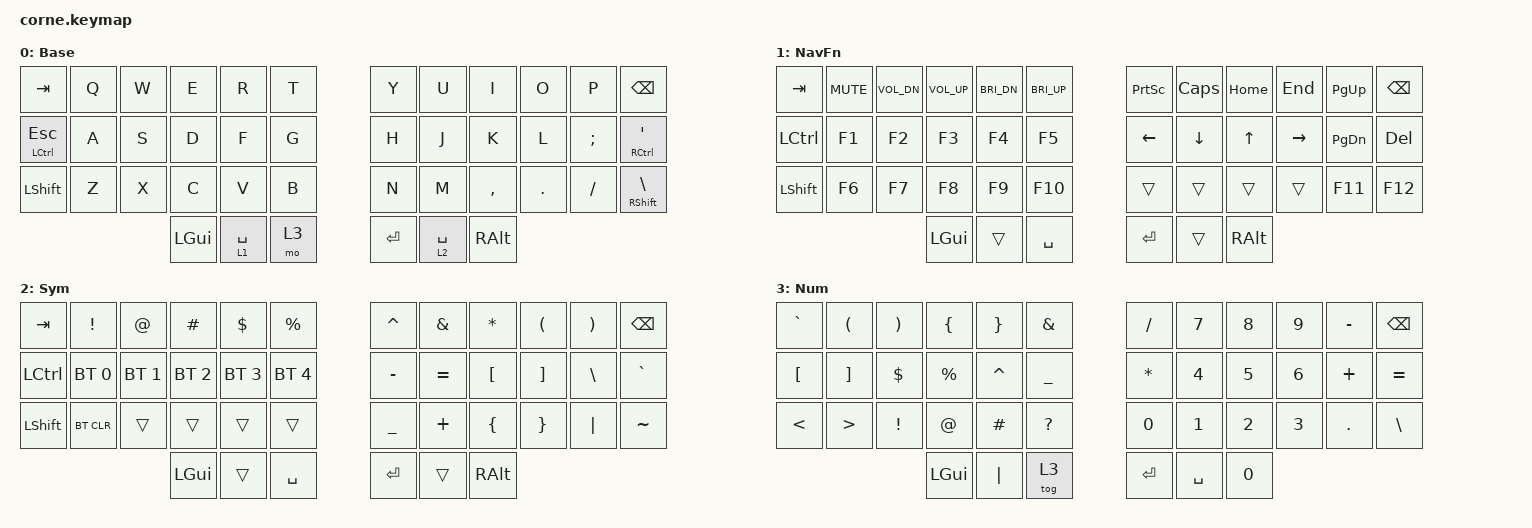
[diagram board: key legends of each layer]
/*
 * Copyright (c) 2020 The ZMK Contributors
 *
 * SPDX-License-Identifier: MIT
 */

#include <behaviors.dtsi>
#include <dt-bindings/zmk/keys.h>
#include <dt-bindings/zmk/bt.h>

/ {
        combos {
                compatible = "zmk,combos";
                
                // Numpad toggle (inner thumbs - cross hand)
                combo_numpad_toggle {
                        timeout-ms = <50>;
                        key-positions = <38 39>;
                        bindings = <&tog 3>;
                };
                
                // Quick brackets and braces (home row)
                combo_lbracket {
                        timeout-ms = <30>;
                        key-positions = <15 16>;  // D + F
                        bindings = <&kp LBKT>;
                };
                combo_rbracket {
                        timeout-ms = <30>;
                        key-positions = <19 20>;  // J + K
                        bindings = <&kp RBKT>;
                };
                combo_lbrace {
                        timeout-ms = <30>;
                        key-positions = <14 15>;  // S + D
                        bindings = <&kp LBRC>;
                };
                combo_rbrace {
                        timeout-ms = <30>;
                        key-positions = <20 21>;  // K + L
                        bindings = <&kp RBRC>;
                };
                combo_lparen {
                        timeout-ms = <30>;
                        key-positions = <3 4>;    // E + R
                        bindings = <&kp LPAR>;
                };
                combo_rparen {
                        timeout-ms = <30>;
                        key-positions = <7 8>;    // U + I
                        bindings = <&kp RPAR>;
                };
                
                // Quick copy/paste
                combo_copy {
                        timeout-ms = <30>;
                        key-positions = <26 27>;  // X + C
                        bindings = <&kp LC(C)>;
                };
                combo_paste {
                        timeout-ms = <30>;
                        key-positions = <27 28>;  // C + V
                        bindings = <&kp LC(V)>;
                };
                combo_cut {
                        timeout-ms = <30>;
                        key-positions = <25 26>;  // Z + X
                        bindings = <&kp LC(X)>;
                };
                combo_undo {
                        timeout-ms = <30>;
                        key-positions = <25 27>;  // Z + C
                        bindings = <&kp LC(Z)>;
                };
                combo_redo {
                        timeout-ms = <30>;
                        key-positions = <27 29>;  // C + B
                        bindings = <&kp LC(LS(Z))>;
                };
                
                // Backtick for template literals
                combo_backtick {
                        timeout-ms = <30>;
                        key-positions = <1 2>;    // Q + W
                        bindings = <&kp GRAVE>;
                };
        };

        keymap {
                compatible = "zmk,keymap";

                default_layer {
// -----------------------------------------------------------------------------------------
// |  TAB |  Q  |  W  |  E  |  R  |  T  |   |  Y  |  U   |  I  |  O  |  P  | BKSP |
// |ESC/CT|  A  |  S  |  D  |  F  |  G  |   |  H  |  J   |  K  |  L  |  ;  |'/RCTL|
// | SHFT |  Z  |  X  |  C  |  V  |  B  |   |  N  |  M   |  ,  |  .  |  /  |\/RSFT|
//              | GUI |NAVFN/SPC | NUM |   | ENT |SYM/SP| ALT |
                        display-name = "Base";
                        bindings = <
   &kp TAB       &kp Q &kp W &kp E &kp R &kp T   &kp Y &kp U  &kp I     &kp O   &kp P    &kp BSPC
   &mt LCTRL ESC &kp A &kp S &kp D &kp F &kp G   &kp H &kp J  &kp K     &kp L   &kp SEMI &mt RCTRL SQT
   &kp LSHFT     &kp Z &kp X &kp C &kp V &kp B   &kp N &kp M  &kp COMMA &kp DOT &kp FSLH &mt RSHFT BSLH
                    &kp LGUI &lt 1 SPACE &mo 3   &kp RET &lt 2 SPACE &kp RALT
                        >;
                };
                
                navfn_layer {
// -----------------------------------------------------------------------------------------
// |  TAB | MUTE|VOL- |VOL+ |BRID |BRIU |   |PSCRN|CAPS |HOME | END |PGUP | BKSP |
// | CTRL | F1  | F2  | F3  | F4  | F5  |   | ←   | ↓   | ↑   | →   |PGDN | DEL  |
// | SHFT | F6  | F7  | F8  | F9  | F10 |   |     |     |     |     | F11 | F12  |
//                    | GUI |     | SPC |   | ENT |     | ALT |
                        display-name = "NavFn";
                        bindings = <
   &kp TAB    &kp C_MUTE &kp C_VOL_DN &kp C_VOL_UP &kp C_BRI_DN &kp C_BRI_UP   &kp PSCRN &kp CAPS &kp HOME  &kp END   &kp PG_UP &kp BSPC
   &kp LCTRL  &kp F1     &kp F2       &kp F3       &kp F4       &kp F5         &kp LEFT  &kp DOWN &kp UP    &kp RIGHT &kp PG_DN &kp DEL
   &kp LSHFT  &kp F6     &kp F7       &kp F8       &kp F9       &kp F10        &trans    &trans   &trans    &trans    &kp F11   &kp F12
                          	      &kp LGUI     &trans       &kp SPACE      &kp RET   &trans   &kp RALT
                        >;
                };

                sym_layer {
// -----------------------------------------------------------------------------------------
// |  TAB |  !  |  @  |  #  |  $  |  %  |   |  ^  |  &  |  *  |  (  |  )  | BKSP |
// | CTRL | BT1 | BT2 | BT3 | BT4 | BT5 |   |  -  |  =  |  [  |  ]  |  \  |  `   |
// | SHFT |BTCLR|     |     |     |     |   |  _  |  +  |  {  |  }  | "|" |  ~   |
//                    | GUI |     | SPC |   | ENT |     | ALT |
                        display-name = "Sym";
                        bindings = <
   &kp  TAB  &kp EXCL     &kp AT       &kp HASH     &kp DLLR     &kp PRCNT      &kp CARET &kp AMPS  &kp STAR &kp LPAR &kp RPAR &kp BSPC
   &kp LCTRL &bt BT_SEL 0 &bt BT_SEL 1 &bt BT_SEL 2 &bt BT_SEL 3 &bt BT_SEL 4   &kp MINUS &kp EQUAL &kp LBKT &kp RBKT &kp BSLH &kp GRAVE
   &kp LSHFT &bt BT_CLR   &trans       &trans       &trans       &trans         &kp UNDER &kp PLUS  &kp LBRC &kp RBRC &kp PIPE &kp TILDE
                    	                &kp LGUI     &trans      &kp SPACE      &kp RET   &trans    &kp RALT
                        >;
                };

                num_layer {
// -----------------------------------------------------------------------------------------
// |  `   |  (  |  )  |  {  |  }  |  &  |   |  /  |  7  |  8  |  9  |  -  | BKSP |
// |  [   |  ]  |  $  |  %  |  ^  |  _  |   |  *  |  4  |  5  |  6  |  +  |  =   |
// |  <   |  >  |  !  |  @  |  #  |  ?  |   |  0  |  1  |  2  |  3  |  .  |  \   |
//                    | GUI |  |  | TOG |   | ENT | SPC |  0  |
                        display-name = "Num";
                        bindings = <
    &kp GRAVE &kp LPAR  &kp RPAR  &kp LBRC  &kp RBRC  &kp AMPS      &kp SLASH &kp N7    &kp N8    &kp N9  &kp MINUS &kp BSPC
    &kp LBKT  &kp RBKT  &kp DLLR  &kp PRCNT &kp CARET &kp UNDER     &kp STAR  &kp N4    &kp N5    &kp N6  &kp PLUS  &kp EQUAL
    &kp LT    &kp GT    &kp EXCL  &kp AT    &kp HASH  &kp QMARK     &kp N0    &kp N1    &kp N2    &kp N3  &kp DOT   &kp BSLH
                                  &kp LGUI  &kp PIPE  &tog 3        &kp RET   &kp SPACE &kp N0
                        >;
                };
        };
};
